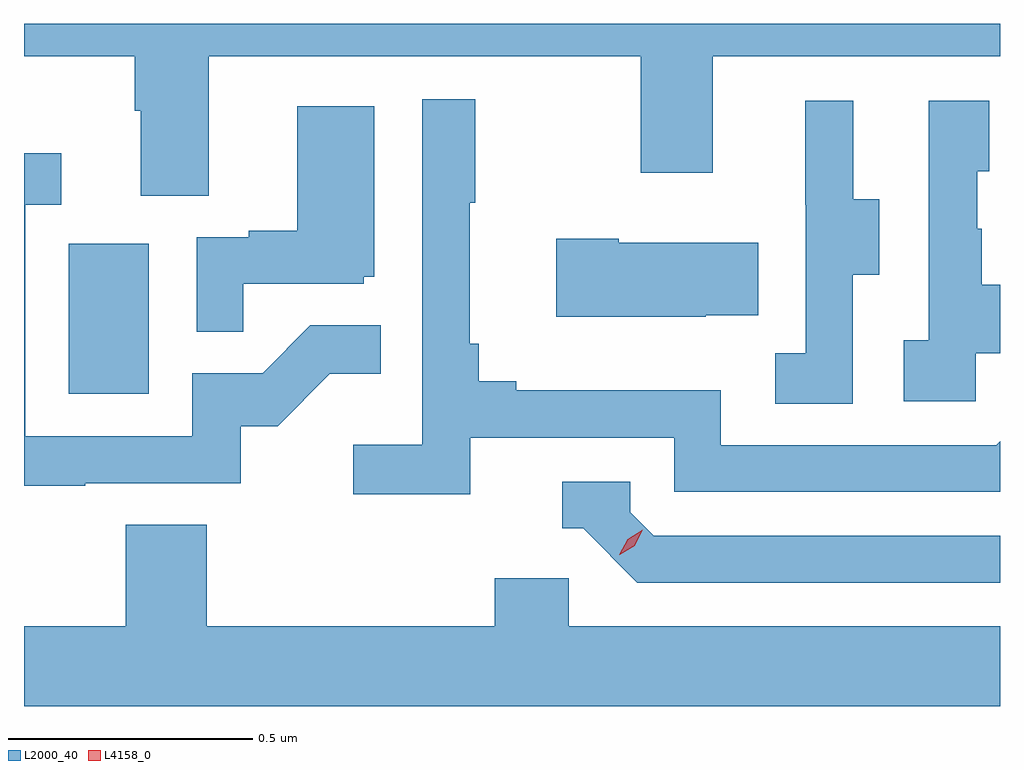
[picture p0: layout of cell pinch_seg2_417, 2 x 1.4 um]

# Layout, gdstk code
import gdstk
lib = gdstk.Library(unit=1e-6, precision=1e-09)
def R(c, l, rs):  # rectangles x0, y0, x1, y1
    for r in rs: c.add(gdstk.rectangle(r[:2], r[2:], *l))
def P(c, l, *ps):  # polygons
    for p in ps: c.add(gdstk.Polygon(p, *l))
L2000_40 = (2000, 40)
L4158_0 = (4158, 0)

pinch_seg2_417 = lib.new_cell('pinch_seg2_417')
R(pinch_seg2_417, L2000_40, [(964.076,605.652,964.24,605.959)])
P(pinch_seg2_417, L2000_40, [(964.363,606.344),(965.248,606.344),(965.248,606.105),(965.395,606.105),(965.395,606.344),(965.984,606.344),(965.984,606.41),(963.984,606.41),(963.984,606.344),(964.211,606.344),(964.211,606.232),(964.223,606.232),(964.223,606.058),(964.363,606.058)],
  [(964.898,605.562),(965.316,605.562),(965.316,605.451),(965.984,605.451),(965.984,605.555),(965.976,605.547),(965.412,605.547),(965.412,605.659),(964.993,605.659),(964.993,605.678),(964.916,605.678),(964.916,605.755),(964.897,605.755),(964.897,606.043),(964.909,606.043),(964.909,606.256),(964.8,606.256),(964.8,605.548),(964.659,605.548),(964.659,605.446),(964.898,605.446)],
  [(965.934,605.735),(965.984,605.735),(965.984,605.875),(965.947,605.875),(965.947,605.99),(965.937,605.99),(965.937,606.108),(965.962,606.108),(965.962,606.253),(965.838,606.253),(965.838,605.762),(965.787,605.762),(965.787,605.637),(965.934,605.637)],
  [(965.682,605.896),(965.737,605.896),(965.737,606.051),(965.683,606.051),(965.683,606.253),(965.585,606.253),(965.585,606.039),(965.586,606.039),(965.586,605.735),(965.523,605.735),(965.523,605.632),(965.682,605.632)],
  [(964.433,605.877),(964.68,605.877),(964.68,605.892),(964.702,605.892),(964.702,606.241),(964.544,606.241),(964.544,605.986),(964.445,605.986),(964.445,605.973),(964.338,605.973),(964.338,605.779),(964.433,605.779)],
  [(964.109,605.469),(964.428,605.469),(964.428,605.586),(964.504,605.586),(964.611,605.693),(964.715,605.693),(964.715,605.792),(964.571,605.792),(964.473,605.694),(964.329,605.694),(964.329,605.565),(963.987,605.565),(963.987,606.039),(964.06,606.039),(964.06,606.145),(963.984,606.145),(963.984,605.464),(964.109,605.464)],
  [(965.381,605.813),(965.489,605.813),(965.489,605.962),(965.203,605.962),(965.203,605.97),(965.075,605.97),(965.075,605.81),(965.381,605.81)],
  [(965.984,605.361),(965.274,605.361),(965.226,605.409),(965.226,605.472),(965.087,605.472),(965.087,605.376),(965.13,605.376),(965.241,605.265),(965.984,605.265)],
  [(965.984,605.176),(965.1,605.176),(965.1,605.274),(964.949,605.274),(964.949,605.176),(964.358,605.176),(964.358,605.384),(964.193,605.384),(964.193,605.176),(963.984,605.176),(963.984,605.012),(965.984,605.012)])
P(pinch_seg2_417, L4158_0, [(965.204,605.322),(965.204,605.322),(965.221,605.354),(965.252,605.373),(965.252,605.373),(965.252,605.373),(965.236,605.341),(965.205,605.322)])

lib.write_gds('pinch_seg2_417.gds')
